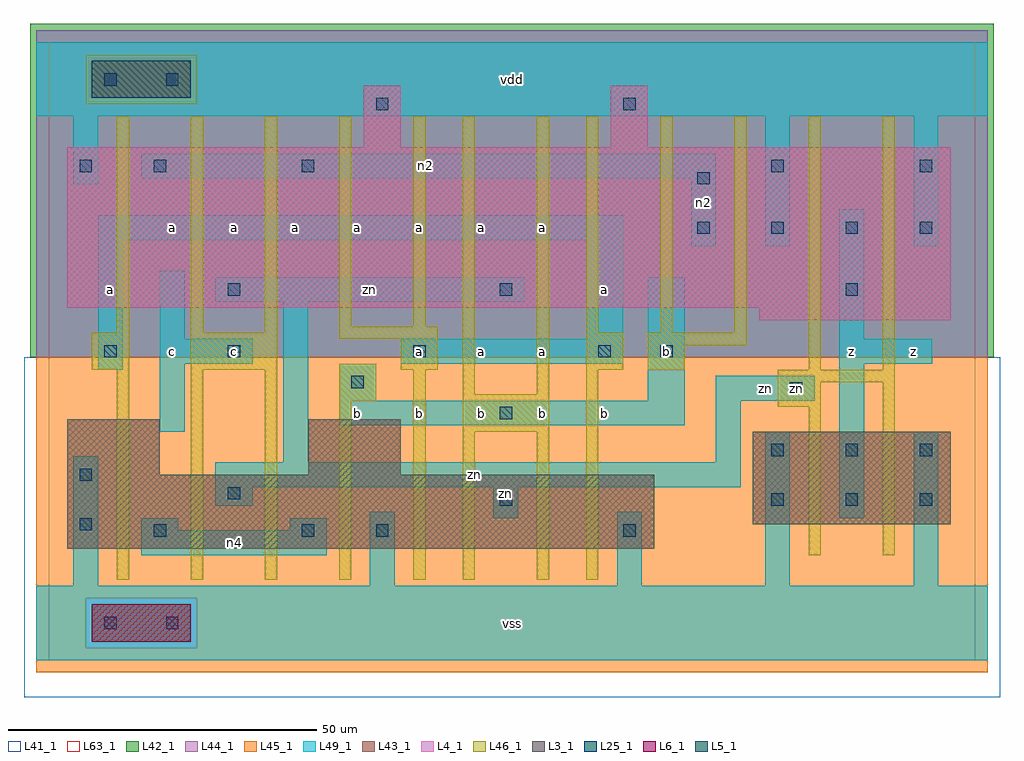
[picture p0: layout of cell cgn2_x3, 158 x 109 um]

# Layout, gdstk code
import gdstk
lib = gdstk.Library(unit=1e-6, precision=1e-09)
def R(c, l, rs):  # rectangles x0, y0, x1, y1
    for r in rs: c.add(gdstk.rectangle(r[:2], r[2:], *l))
def A(c, l, x, y, w, h, nx, ny, dx, dy):  # array of equal rectangles
    R(c, l, [(x+i*dx, y+j*dy, x+i*dx+w, y+j*dy+h) for i in range(nx) for j in range(ny)])
L3_1 = (3, 1)
L4_1 = (4, 1)
L5_1 = (5, 1)
L6_1 = (6, 1)
L25_1 = (25, 1)
L41_1 = (41, 1)
L42_1 = (42, 1)
L43_1 = (43, 1)
L44_1 = (44, 1)
L45_1 = (45, 1)
L46_1 = (46, 1)
L49_1 = (49, 1)
L63_1 = (63, 1)

cgn2_x3 = lib.new_cell('cgn2_x3')
R(cgn2_x3, L3_1, [(3,18,98,30), (114,22,146,37), (3,30,18,39), (42,30,57,39)])
R(cgn2_x3, L4_1, [(115,55,146,57), (3,57,146,83), (51,83,57,93), (91,83,97,93)])
R(cgn2_x3, L5_1, [(7,91,23,97)])
R(cgn2_x3, L6_1, [(7,3,23,9)])
A(cgn2_x3, L25_1, 9, 5, 2, 2, 1, 3, 0, 44)
A(cgn2_x3, L25_1, 117, 25, 2, 2, 3, 2, 12, 8)
A(cgn2_x3, L25_1, 29, 49, 2, 2, 3, 1, 30, 0)
A(cgn2_x3, L25_1, 105, 69, 2, 2, 4, 1, 12, 0)
R(cgn2_x3, L25_1, [(19,5,21,7), (17,20,19,22), (41,20,43,22), (53,20,55,22), (93,20,95,22), (5,21,7,23), (73,25,75,27), (29,26,31,28), (5,29,7,31), (73,39,75,41), (120,43,122,45), (49,44,51,46), (99,49,101,51), (29,59,31,61), (73,59,75,61), (129,59,131,61), (105,77,107,79), (5,79,7,81), (17,79,19,81), (41,79,43,81), (117,79,119,81), (141,79,143,81), (53,89,55,91), (93,89,95,91), (19,93,21,95)])
R(cgn2_x3, L41_1, [(-4,-6,154,49), (-3,-3,153,49)])
R(cgn2_x3, L42_1, [(-3,49,153,103)])
R(cgn2_x3, L43_1, [(7,3,23,9), (3,18,98,30), (114,22,146,37), (3,30,18,39), (42,30,57,39), (115,55,146,57), (3,57,146,83), (51,83,57,93), (91,83,97,93), (7,91,23,97)])
R(cgn2_x3, L44_1, [(6,2,24,10), (-2,49,152,90), (-2,90,6,98), (24,90,152,98), (-2,98,152,102)])
R(cgn2_x3, L45_1, [(-2,-2,152,2), (-2,2,6,10), (24,2,152,10), (-2,10,152,49), (6,90,24,98)])
A(cgn2_x3, L46_1, 11, 13, 2, 34, 3, 1, 12, 0)
A(cgn2_x3, L46_1, 11, 53, 2, 35, 3, 1, 12, 0)
A(cgn2_x3, L46_1, 87, 53, 2, 35, 3, 1, 12, 0)
R(cgn2_x3, L46_1, [(47,13,49,42), (59,13,61,47), (67,13,69,37), (79,13,81,37), (87,13,89,47), (123,17,125,41), (135,17,137,45), (67,37,81,43), (118,41,125,45), (47,42,53,48), (67,43,69,88), (79,43,81,88), (118,45,137,47), (7,47,13,53), (23,47,37,53), (57,47,63,52), (87,47,93,53), (97,47,103,51), (123,47,125,88), (135,47,137,88), (97,51,113,53), (47,52,63,54), (47,54,49,88), (59,54,61,88)])
R(cgn2_x3, L49_1, [(-2,0,152,12), (4,12,8,33), (52,12,56,24), (92,12,96,24), (116,12,120,37), (140,12,144,37), (15,17,45,21), (15,21,21,23), (39,21,45,23), (72,23,76,28), (128,23,132,48), (27,25,33,28), (27,28,112,32), (38,32,42,58), (108,32,112,42), (18,37,22,48), (47,38,103,42), (47,42,53,48), (97,42,103,62), (108,42,124,46), (8,47,12,68), (18,48,33,52), (57,48,93,52), (128,48,143,52), (18,52,22,63), (87,52,93,68), (128,52,132,73), (27,58,77,62), (104,67,108,78), (116,67,120,88), (140,67,144,88), (8,68,93,72), (4,77,8,88), (15,78,108,82), (-2,88,152,100)])
R(cgn2_x3, L63_1, [(0,0,150,100)])
cgn2_x3.add(gdstk.Label('zn', (121,44), layer=49, texttype=1))
cgn2_x3.add(gdstk.Label('c', (20,50), layer=49, texttype=1))
cgn2_x3.add(gdstk.Label('c', (20,50), layer=49, texttype=1))
cgn2_x3.add(gdstk.Label('a', (10,60), layer=49, texttype=1))
cgn2_x3.add(gdstk.Label('a', (10,60), layer=49, texttype=1))
cgn2_x3.add(gdstk.Label('a', (20,70), layer=49, texttype=1))
cgn2_x3.add(gdstk.Label('a', (20,70), layer=49, texttype=1))
cgn2_x3.add(gdstk.Label('n4', (30,19), layer=49, texttype=1))
cgn2_x3.add(gdstk.Label('b', (50,40), layer=49, texttype=1))
cgn2_x3.add(gdstk.Label('b', (50,40), layer=49, texttype=1))
cgn2_x3.add(gdstk.Label('c', (30,50), layer=49, texttype=1))
cgn2_x3.add(gdstk.Label('c', (30,50), layer=49, texttype=1))
cgn2_x3.add(gdstk.Label('a', (30,70), layer=49, texttype=1))
cgn2_x3.add(gdstk.Label('a', (30,70), layer=49, texttype=1))
cgn2_x3.add(gdstk.Label('a', (50,70), layer=49, texttype=1))
cgn2_x3.add(gdstk.Label('a', (40,70), layer=49, texttype=1))
cgn2_x3.add(gdstk.Label('a', (50,70), layer=49, texttype=1))
cgn2_x3.add(gdstk.Label('a', (40,70), layer=49, texttype=1))
cgn2_x3.add(gdstk.Label('vss', (75,6), layer=49, texttype=1))
cgn2_x3.add(gdstk.Label('vss', (75,6), layer=49, texttype=1))
cgn2_x3.add(gdstk.Label('zn', (74,27), layer=49, texttype=1))
cgn2_x3.add(gdstk.Label('b', (80,40), layer=49, texttype=1))
cgn2_x3.add(gdstk.Label('b', (70,40), layer=49, texttype=1))
cgn2_x3.add(gdstk.Label('b', (70,40), layer=49, texttype=1))
cgn2_x3.add(gdstk.Label('b', (80,40), layer=49, texttype=1))
cgn2_x3.add(gdstk.Label('b', (60,40), layer=49, texttype=1))
cgn2_x3.add(gdstk.Label('b', (60,40), layer=49, texttype=1))
cgn2_x3.add(gdstk.Label('a', (60,50), layer=49, texttype=1))
cgn2_x3.add(gdstk.Label('a', (60,50), layer=49, texttype=1))
cgn2_x3.add(gdstk.Label('a', (80,50), layer=49, texttype=1))
cgn2_x3.add(gdstk.Label('a', (70,50), layer=49, texttype=1))
cgn2_x3.add(gdstk.Label('a', (80,50), layer=49, texttype=1))
cgn2_x3.add(gdstk.Label('a', (70,50), layer=49, texttype=1))
cgn2_x3.add(gdstk.Label('zn', (52,60), layer=49, texttype=1))
cgn2_x3.add(gdstk.Label('a', (60,70), layer=49, texttype=1))
cgn2_x3.add(gdstk.Label('a', (60,70), layer=49, texttype=1))
cgn2_x3.add(gdstk.Label('a', (80,70), layer=49, texttype=1))
cgn2_x3.add(gdstk.Label('a', (70,70), layer=49, texttype=1))
cgn2_x3.add(gdstk.Label('a', (80,70), layer=49, texttype=1))
cgn2_x3.add(gdstk.Label('a', (70,70), layer=49, texttype=1))
cgn2_x3.add(gdstk.Label('vdd', (75,94), layer=49, texttype=1))
cgn2_x3.add(gdstk.Label('vdd', (75,94), layer=49, texttype=1))
cgn2_x3.add(gdstk.Label('zn', (69,30), layer=49, texttype=1))
cgn2_x3.add(gdstk.Label('b', (90,40), layer=49, texttype=1))
cgn2_x3.add(gdstk.Label('b', (90,40), layer=49, texttype=1))
cgn2_x3.add(gdstk.Label('b', (100,50), layer=49, texttype=1))
cgn2_x3.add(gdstk.Label('b', (100,50), layer=49, texttype=1))
cgn2_x3.add(gdstk.Label('a', (90,60), layer=49, texttype=1))
cgn2_x3.add(gdstk.Label('a', (90,60), layer=49, texttype=1))
cgn2_x3.add(gdstk.Label('n2', (106,74), layer=49, texttype=1))
cgn2_x3.add(gdstk.Label('n2', (61,80), layer=49, texttype=1))
cgn2_x3.add(gdstk.Label('zn', (116,44), layer=49, texttype=1))
cgn2_x3.add(gdstk.Label('z', (140,50), layer=49, texttype=1))
cgn2_x3.add(gdstk.Label('z', (130,50), layer=49, texttype=1))
cgn2_x3.add(gdstk.Label('z', (130,50), layer=49, texttype=1))
cgn2_x3.add(gdstk.Label('z', (140,50), layer=49, texttype=1))

lib.write_gds('cgn2_x3.gds')
